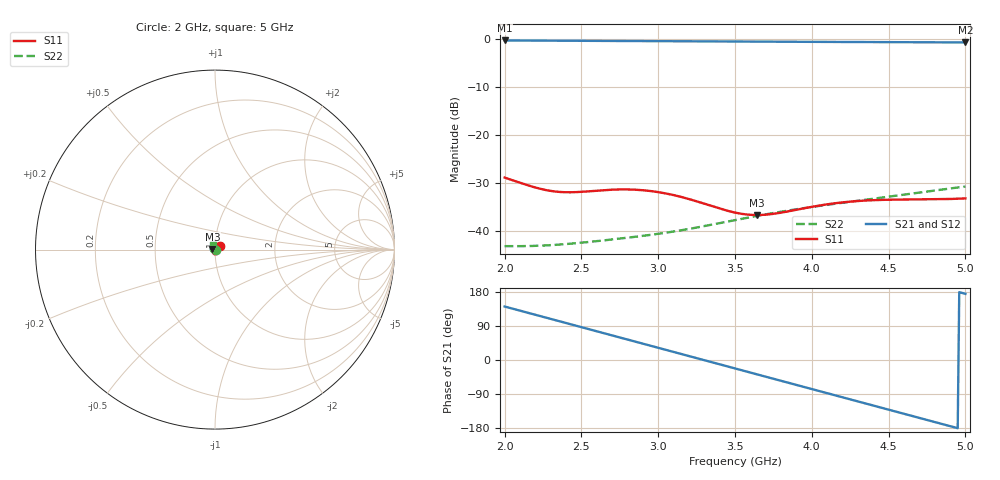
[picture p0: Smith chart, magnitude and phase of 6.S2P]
#  MHZ S MA R 50.0
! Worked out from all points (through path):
!   301 points, 2 GHz to 5 GHz, reference 50 ohm
!   highest |S21| = -0.33 dB at 2 GHz (marker M1); lowest = -0.7 dB at 5 GHz (marker M2)
!   group delay of S21, straight-line fit = 302 ps
!   lowest |S11| = -36.7 dB at 3.64 GHz (marker M3), VSWR 1.03, Z = 48.6 + j0.15 ohm
!   |S11| at or under -10 dB: start of sweep to end of sweep
!   |S22| runs from -43.1 to -30.7 dB; largest |S21 - S12| = 0
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2000  0.03602 37.4  0.963 141.2  0.963 141.2  0.006971 -28.1
2130  0.03073 19.5  0.9608 127.0  0.9608 127.0  0.006977 -52.5
2260  0.02691 -2.4  0.9585 112.8  0.9585 112.8  0.00708 -75.7
2380  0.02542 -24.2  0.9565 99.7  0.9565 99.7  0.007283 -97.3
2500  0.02561 -44.5  0.9546 86.6  0.9546 86.6  0.007573 -119.8
2620  0.02648 -61.5  0.9526 73.6  0.9526 73.6  0.007919 -143.8
2740  0.02709 -75.4  0.9506 60.5  0.9506 60.5  0.008317 -169.3
3000  0.02544 -100.3  0.9465 32.2  0.9465 32.2  0.009364 131.1
3130  0.02308 -112.7  0.9444 18.0  0.9444 18.0  0.01007 100.3
3250  0.02041 -125.6  0.9425 4.9  0.9425 4.9  0.01088 71.8
3370  0.01776 -141.0  0.9406 -8.1  0.9406 -8.1  0.01185 43.8
3500  0.01558 -161.4  0.9386 -22.3  0.9386 -22.3  0.01301 14.2
3640  0.01469 174.0  0.9365 -37.5  0.9365 -37.5  0.01435 -16.4
3830  0.01586 143.8  0.9337 -58.2  0.9337 -58.2  0.0162 -55.6
4000  0.01788 124.1  0.9312 -76.7  0.9312 -76.7  0.01783 -88.2
4120  0.01919 113.3  0.9295 -89.7  0.9295 -89.7  0.01896 -110.0
4240  0.02019 104.1  0.9279 -102.8  0.9279 -102.8  0.0201 -130.9
4370  0.02087 95.1  0.9261 -116.9  0.9261 -116.9  0.02139 -152.6
4500  0.02119 86.5  0.9245 -131.0  0.9245 -131.0  0.02278 -173.7
4760  0.02137 69.0  0.9214 -159.3  0.9214 -159.3  0.02593 145.3
4880  0.02153 60.6  0.92 -172.4  0.92 -172.4  0.02749 126.3
5000  0.02188 52.2  0.9188 174.6  0.9188 174.6  0.02904 107.4
